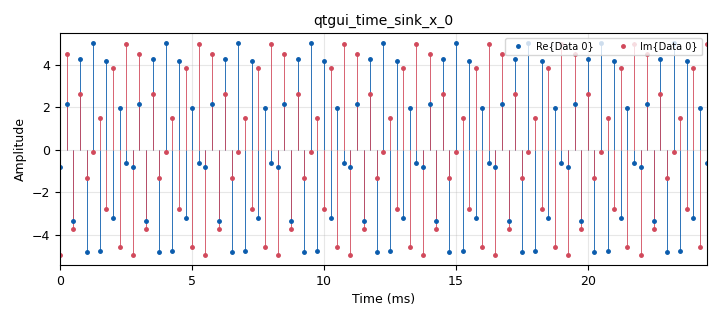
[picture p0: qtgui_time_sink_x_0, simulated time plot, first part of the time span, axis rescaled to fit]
options:
  parameters:
    generate_options: qt_gui
    id: SyS_2_GNU_ej1
    output_language: python
    title: Not titled yet
  states: {}

blocks:
- name: samp_rate
  id: variable
  parameters:
    value: '32000'
  states: {}
- name: analog_sig_source_x_0
  id: analog_sig_source_x
  parameters:
    amp: '5'
    freq: '5000'
    offset: '0'
    phase: '0'
    samp_rate: '11000'
    type: complex
    waveform: analog.GR_COS_WAVE
  states: {}
- name: blocks_throttle2_0
  id: blocks_throttle2
  parameters:
    samples_per_second: '4000'
    type: complex
  states: {}
- name: qtgui_time_sink_x_0
  id: qtgui_time_sink_x
  parameters:
    color1: green
    color2: green
    ctrlpanel: 'True'
    size: '300'
    srate: '4000'
    stemplot: 'True'
    style2: '0'
    type: complex
  states: {}

connections:
- [analog_sig_source_x_0, '0', blocks_throttle2_0, '0']
- [blocks_throttle2_0, '0', qtgui_time_sink_x_0, '0']

metadata:
  file_format: 1
  grc_version: 3.10.12.0
